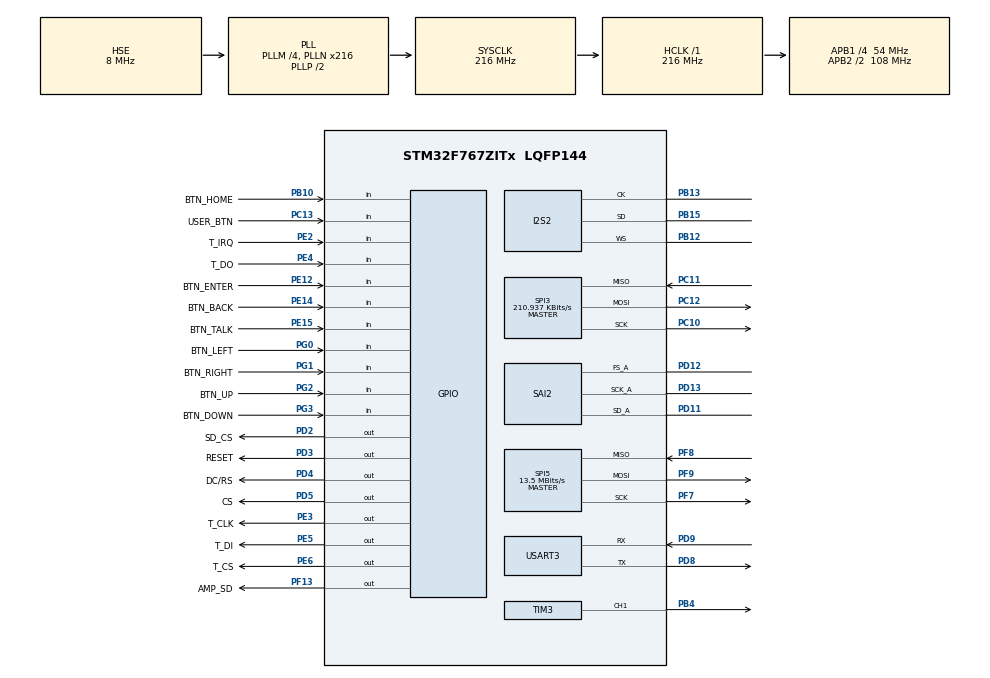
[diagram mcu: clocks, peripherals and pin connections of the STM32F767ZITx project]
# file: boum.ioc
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CORTEX_M7.CPU_DCache=Enabled
CORTEX_M7.CPU_ICache=Enabled
CORTEX_M7.default_mode_Activation=1
Dma.Request0=SPI2_RX
Dma.Request1=SAI2_A
Dma.Request2=SPI5_TX
Dma.SAI2_A.1.Direction=DMA_MEMORY_TO_PERIPH
Dma.SAI2_A.1.FIFOMode=DMA_FIFOMODE_DISABLE
Dma.SAI2_A.1.Instance=DMA2_Stream4
Dma.SAI2_A.1.MemDataAlignment=DMA_MDATAALIGN_HALFWORD
Dma.SAI2_A.1.MemInc=DMA_MINC_ENABLE
Dma.SAI2_A.1.Mode=DMA_CIRCULAR
Dma.SAI2_A.1.PeriphDataAlignment=DMA_PDATAALIGN_HALFWORD
Dma.SAI2_A.1.PeriphInc=DMA_PINC_DISABLE
Dma.SAI2_A.1.Priority=DMA_PRIORITY_LOW
Dma.SPI2_RX.0.Direction=DMA_PERIPH_TO_MEMORY
Dma.SPI2_RX.0.FIFOMode=DMA_FIFOMODE_DISABLE
Dma.SPI2_RX.0.Instance=DMA1_Stream3
Dma.SPI2_RX.0.MemDataAlignment=DMA_MDATAALIGN_HALFWORD
Dma.SPI2_RX.0.MemInc=DMA_MINC_ENABLE
Dma.SPI2_RX.0.Mode=DMA_CIRCULAR
Dma.SPI2_RX.0.PeriphDataAlignment=DMA_PDATAALIGN_HALFWORD
Dma.SPI2_RX.0.PeriphInc=DMA_PINC_DISABLE
Dma.SPI2_RX.0.Priority=DMA_PRIORITY_LOW
Dma.SPI5_TX.2.Direction=DMA_MEMORY_TO_PERIPH
Dma.SPI5_TX.2.FIFOMode=DMA_FIFOMODE_DISABLE
Dma.SPI5_TX.2.Instance=DMA2_Stream6
Dma.SPI5_TX.2.MemDataAlignment=DMA_MDATAALIGN_BYTE
Dma.SPI5_TX.2.MemInc=DMA_MINC_ENABLE
Dma.SPI5_TX.2.Mode=DMA_NORMAL
Dma.SPI5_TX.2.PeriphDataAlignment=DMA_PDATAALIGN_BYTE
Dma.SPI5_TX.2.PeriphInc=DMA_PINC_DISABLE
Dma.SPI5_TX.2.Priority=DMA_PRIORITY_LOW
EdgeImpulse.bmo-wakeword.1.0.1.MachineLearningCcbmoAawakewordJjCore=true
I2S2.AudioFreq=I2S_AUDIOFREQ_16K
I2S2.DataFormat=I2S_DATAFORMAT_24B
I2S2.ErrorAudioFreq=0.0 %
I2S2.FullDuplexMode=I2S_FULLDUPLEXMODE_DISABLE
I2S2.Instance=SPI$Index
I2S2.Mode=I2S_MODE_MASTER_RX
I2S2.RealAudioFreq=16.0 KHz
I2S2.VirtualMode=I2S_MODE_MASTER
Mcu.Family=STM32F7
Mcu.Name=STM32F767ZITx
Mcu.Package=LQFP144
NVIC.DMA1_Stream3_IRQn=true\:0\:0\:false\:false\:true\:false\:true\:true
NVIC.DMA2_Stream4_IRQn=true\:0\:0\:false\:false\:true\:false\:true\:true
NVIC.DMA2_Stream6_IRQn=true\:0\:0\:false\:false\:true\:false\:true\:true
NVIC.PriorityGroup=NVIC_PRIORITYGROUP_4
PA13.Mode=Trace_Asynchronous_SW
PA13.Signal=SYS_JTMS-SWDIO
PA14.Mode=Trace_Asynchronous_SW
PA14.Signal=SYS_JTCK-SWCLK
PB10.GPIO_Label=BTN_HOME
PB10.GPIO_PuPd=GPIO_PULLUP
PB10.Signal=GPIO_Input
PB12.Mode=Half_Duplex_Master
PB12.Signal=I2S2_WS
PB13.Mode=Half_Duplex_Master
PB13.Signal=I2S2_CK
PB15.Mode=Half_Duplex_Master
PB15.Signal=I2S2_SD
PB3.Mode=Trace_Asynchronous_SW
PB3.Signal=SYS_JTDO-SWO
PB4.Signal=S_TIM3_CH1
PC10.Mode=Full_Duplex_Master
PC10.Signal=SPI3_SCK
PC11.Mode=Full_Duplex_Master
PC11.Signal=SPI3_MISO
PC12.Mode=Full_Duplex_Master
PC12.Signal=SPI3_MOSI
PC13.GPIO_Label=USER_BTN
PC13.Signal=GPIO_Input
PD11.Mode=SAI_A_Master
PD11.Signal=SAI2_SD_A
PD12.Mode=SAI_A_Master
PD12.Signal=SAI2_FS_A
PD13.Mode=SAI_A_Master
PD13.Signal=SAI2_SCK_A
PD2.GPIO_Label=SD_CS
PD2.GPIO_Speed=GPIO_SPEED_FREQ_HIGH
PD2.PinState=GPIO_PIN_SET
PD2.Signal=GPIO_Output
PD3.GPIO_Label=RESET
PD3.PinState=GPIO_PIN_SET
PD3.Signal=GPIO_Output
PD4.GPIO_Label=DC/RS
PD4.Signal=GPIO_Output
PD5.GPIO_Label=CS
PD5.PinState=GPIO_PIN_SET
PD5.Signal=GPIO_Output
PD8.Mode=Asynchronous
PD8.Signal=USART3_TX
PD9.Mode=Asynchronous
PD9.Signal=USART3_RX
PE12.GPIO_Label=BTN_ENTER
PE12.GPIO_PuPd=GPIO_PULLUP
PE12.Signal=GPIO_Input
PE14.GPIO_Label=BTN_BACK
PE14.GPIO_PuPd=GPIO_PULLUP
PE14.Signal=GPIO_Input
PE15.GPIO_Label=BTN_TALK
PE15.GPIO_PuPd=GPIO_PULLUP
PE15.Signal=GPIO_Input
PE2.GPIO_Label=T_IRQ
PE2.Signal=GPIO_Input
PE3.GPIO_Label=T_CLK
PE3.Signal=GPIO_Output
PE4.GPIO_Label=T_DO
PE4.Signal=GPIO_Input
PE5.GPIO_Label=T_DI
PE5.Signal=GPIO_Output
PE6.GPIO_Label=T_CS
PE6.PinState=GPIO_PIN_SET
PE6.Signal=GPIO_Output
PF13.GPIO_Label=AMP_SD
PF13.Signal=GPIO_Output
PF7.Mode=Full_Duplex_Master
PF7.Signal=SPI5_SCK
PF8.Mode=Full_Duplex_Master
PF8.Signal=SPI5_MISO
PF9.Mode=Full_Duplex_Master
PF9.Signal=SPI5_MOSI
PG0.GPIO_Label=BTN_LEFT
PG0.GPIO_PuPd=GPIO_PULLUP
PG0.Signal=GPIO_Input
PG1.GPIO_Label=BTN_RIGHT
PG1.GPIO_PuPd=GPIO_PULLUP
PG1.Signal=GPIO_Input
PG2.GPIO_Label=BTN_UP
PG2.GPIO_PuPd=GPIO_PULLUP
PG2.Signal=GPIO_Input
PG3.GPIO_Label=BTN_DOWN
PG3.GPIO_PuPd=GPIO_PULLUP
PG3.Signal=GPIO_Input
PH0/OSC_IN.Mode=HSE-External-Clock-Source
PH0/OSC_IN.Signal=RCC_OSC_IN
PH1/OSC_OUT.Mode=HSE-External-Clock-Source
PH1/OSC_OUT.Signal=RCC_OSC_OUT
ProjectManager.HeapSize=0x8000
ProjectManager.StackSize=0x2000
ProjectManager.TargetToolchain=STM32CubeIDE
RCC.AHBFreq_Value=216000000
RCC.APB1CLKDivider=RCC_HCLK_DIV4
RCC.APB1Freq_Value=54000000
RCC.APB1TimFreq_Value=108000000
RCC.APB2CLKDivider=RCC_HCLK_DIV2
RCC.APB2Freq_Value=108000000
RCC.APB2TimFreq_Value=216000000
RCC.CortexFreq_Value=216000000
RCC.HCLKFreq_Value=216000000
RCC.HSE_VALUE=8000000
RCC.HSI_VALUE=16000000
RCC.LSE_VALUE=32768
RCC.PLLI2SR=3
RCC.PLLM=4
RCC.PLLN=216
RCC.PLLQ=9
RCC.PLLSAIN=158
RCC.PLLSAIQ=7
RCC.PLLSAIQDiv=4
RCC.PLLSourceVirtual=RCC_PLLSOURCE_HSE
RCC.SYSCLKFreq_VALUE=216000000
RCC.SYSCLKSource=RCC_SYSCLKSOURCE_PLLCLK
RCC.USBFreq_Value=48000000
RCC.VCOOutputFreq_Value=432000000
SAI2.AudioFrequency-SAI_A_Master=SAI_AUDIO_FREQUENCY_22K
SAI2.BasicDataSize-SAI_A_Master=SAI_PROTOCOL_DATASIZE_16BITEXTENDED
SAI2.ErrorAudioFreq-SAI_A_Master=-0.03 %
SAI2.InitProtocol-SAI_A_Master=Enable
SAI2.Instance-SAI_A_Master=SAI$Index_Block_A
SAI2.MClockEnable-SAI_A_Master=SAI_MASTERCLOCK_DISABLE
SAI2.RealAudioFreq-SAI_A_Master=22.042 KHz
SAI2.VirtualMode-SAI_A_Master=VM_MASTER
SAI2.VirtualProtocol-SAI_A_BASIC=VM_BASIC_PROTOCOL
SH.S_TIM3_CH1.0=TIM3_CH1,PWM Generation1 CH1
SPI3.BaudRatePrescaler=SPI_BAUDRATEPRESCALER_256
SPI3.CalculateBaudRate=210.937 KBits/s
SPI3.DataSize=SPI_DATASIZE_8BIT
SPI3.Direction=SPI_DIRECTION_2LINES
SPI3.Mode=SPI_MODE_MASTER
SPI3.NSSPMode=SPI_NSS_PULSE_DISABLE
SPI3.VirtualType=VM_MASTER
SPI5.BaudRatePrescaler=SPI_BAUDRATEPRESCALER_8
SPI5.CalculateBaudRate=13.5 MBits/s
SPI5.DataSize=SPI_DATASIZE_8BIT
SPI5.Direction=SPI_DIRECTION_2LINES
SPI5.Mode=SPI_MODE_MASTER
SPI5.NSSPMode=SPI_NSS_PULSE_DISABLE
SPI5.VirtualType=VM_MASTER
TIM3.Channel-PWM\ Generation1\ CH1=TIM_CHANNEL_1
TIM3.Period=999
TIM3.Prescaler=107
USART3.VirtualMode-Asynchronous=VM_ASYNC
VP_EdgeImpulse.bmo-wakeword_VS_bmoAawakewordJjMachineLearning_1.0.1_1.0.1.Mode=bmoAawakewordJjMachineLearning
VP_FATFS_VS_Generic.Mode=User_defined
VP_RNG_VS_RNG.Mode=RNG_Activate
VP_SAI2_VP_$IpInstance_SAIA_SAI_BASIC.Mode=SAI_A_BASIC
VP_TIM3_VS_ClockSourceINT.Mode=Internal
board=custom

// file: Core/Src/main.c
/* USER CODE BEGIN Header */
/**
  ******************************************************************************
  * @file           : main.c
  * @brief          : Main program body
  ******************************************************************************
  * @attention
  *
  * Copyright (c) 2026 STMicroelectronics.
  * All rights reserved.
  *
  * This software is licensed under terms that can be found in the LICENSE file
  * in the root directory of this software component.
  * If no LICENSE file comes with this software, it is provided AS-IS.
  *
  ******************************************************************************
  */
/* USER CODE END Header */
#include "main.h"
#include "dma.h"
#include "fatfs.h"
#include "i2s.h"
#include "rng.h"
#include "sai.h"
#include "spi.h"
#include "tim.h"
#include "usart.h"
#include "gpio.h"

/* USER CODE BEGIN Includes */
#include "p4_demo.h"
#include <stdio.h>
#include <string.h>
#include "lcd_test.h"
#include "face_gfx.h"
#include "bmo_face.h"
#include "p5_audio/wakeword.h"                    /* P5: wake word */
#include "p5_audio/audio_sfx.h"                   /* P5: speaker beeps, SD playback */
/* USER CODE END Includes */

/* USER CODE BEGIN PD */
/* 1 = show the calibration pattern instead of the face (fix colour/rotation first) */
#define SCREEN_TEST 0
/* 1 = face demo: the blue USER button B1 changes face (short press = next,
 * hold > 1 s = previous); the face survives the black RESET button; USART3
 * prints each change and, every 10 s, the current face's timing.
 * 0 = normal behaviour (idle face). */
#define FACE_DEMO   0
#define BTN_DEBOUNCE_MS  30
#define BTN_LONG_MS      1000
#define DEMO_REPORT_MS   10000
#define DEMO_MAGIC       0xB30FACE5u
#define TICK_LIMIT_US    25000      /* demo check: hard limit per face frame */
/* USER CODE END PD */

/* USER CODE BEGIN PV */
#if FACE_DEMO
/* Kept across the black RESET button: .sram1 is NOLOAD, so startup code never
 * clears it. After power-off it holds noise, which the magic value and the
 * inverted copy reject (and a power-on reset always starts at 01). */
typedef struct { uint32_t magic, face, inv, pad[5]; } demo_keep_t;   /* one 32-byte cache line */
static demo_keep_t demo_keep __attribute__((section(".sram1"), aligned(32)));
static int power_on;                     /* reset cause, read before anything clears it */

static struct {
  uint32_t t0_ms;                        /* start of this report window */
  uint32_t cyc0;                         /* CYCCNT at the start of the window */
  uint32_t rearmed;                      /* times the counter had been switched off */
  uint32_t worst_cyc, over;              /* worst face frame, frames over the budget */
  uint64_t busy_cyc;                     /* time in face_tick() calls that drew a frame */
  uint64_t poll_cyc;                     /* time in calls that returned at once */
} demo;
static uint32_t change_t0;               /* button press that started a change */
static int      change_open;             /* change time still to be printed */
#endif
/* USER CODE END PV */

void SystemClock_Config(void);
static void MPU_Config(void);
/* USER CODE BEGIN PFP */
static void say(const char *s);
int p4_talk_pressed(void);                      /* P4: green TALK button (push-to-talk), in p4_demo.c */
/* USER CODE END PFP */

/* USER CODE BEGIN 0 */

/* Print a message to the ST-LINK virtual COM port (USART3, 115200 baud) */
static void say(const char *s)
{
  HAL_UART_Transmit(&huart3, (uint8_t *)s, (uint16_t)strlen(s), 100);
}

/* P5: lets printf() print to the ST-LINK virtual COM port */
int __io_putchar(int ch)
{
  uint8_t c = (uint8_t)ch;
  HAL_UART_Transmit(&huart3, &c, 1, 100);
  return ch;
}

/* Cycle counter on. zero = 0 keeps the count (re-arming inside the loop). */
static void dwt_on(int zero)
{
  CoreDebug->DEMCR |= CoreDebug_DEMCR_TRCENA_Msk;   /* trace block on */
  DWT->LAR = 0xC5ACCE55;                            /* Cortex-M7: unlock DWT writes */
  if (zero) DWT->CYCCNT = 0;
  DWT->CTRL |= DWT_CTRL_CYCCNTENA_Msk;
}

/* The face's real clock: face_tick() stops drawing before 25 ms by it. */
static uint32_t dwt_cycles(void) { return DWT->CYCCNT; }

#if FACE_DEMO
static void demo_keep_save(face_id_t f)
{
  demo_keep.magic = DEMO_MAGIC;
  demo_keep.face  = (uint32_t)f;
  demo_keep.inv   = ~(uint32_t)f;
  SCB_CleanDCache_by_Addr((uint32_t *)&demo_keep, sizeof demo_keep);   /* D-cache is write-back */
}

static face_id_t demo_keep_load(void)
{
  if (!power_on && demo_keep.magic == DEMO_MAGIC && demo_keep.face < FACE_COUNT
      && demo_keep.inv == ~demo_keep.face)
    return (face_id_t)demo_keep.face;
  return FACE_IDLE;
}

static void demo_stats_reset(uint32_t now)
{
  uint32_t rearmed = demo.rearmed;
  memset(&demo, 0, sizeof demo);
  demo.t0_ms = now;
  demo.cyc0 = DWT->CYCCNT;
  demo.rearmed = rearmed;                          /* counted over the whole run */
}

static void demo_change(int dir, uint32_t now)
{
  face_id_t f = (face_id_t)((face_current() + FACE_COUNT + dir) % FACE_COUNT);
  face_show(f);                                     /* blink transition, runs in face_tick() */
  demo_keep_save(f);
  change_t0 = now;
  change_open = 1;
}

/* Blue button B1 (pressed = High), polled: 30 ms debounce, act on release. */
static void demo_button(uint32_t now)
{
  static uint8_t raw_last, stable;
  static uint32_t t_edge, t_down;
  uint8_t raw = HAL_GPIO_ReadPin(USER_BTN_GPIO_Port, USER_BTN_Pin) == GPIO_PIN_SET;

  if (raw != raw_last) { raw_last = raw; t_edge = now; }
  if (raw == stable || now - t_edge < BTN_DEBOUNCE_MS) return;
  stable = raw;
  if (stable) t_down = now;
  else        demo_change(now - t_down > BTN_LONG_MS ? -1 : +1, now);
}

static void print_ms(char *buf, size_t n, const char *label, uint32_t us)
{
  snprintf(buf, n, "%s%lu.%lu ms", label, (unsigned long)(us / 1000u), (unsigned long)(us % 1000u / 100u));
}

/* After every face_tick(): timing, button, change time, 10 s report.
 * frame = that call ran a face frame (face_frames() moved), else it was a poll. */
static void demo_poll(uint32_t tick_cyc, int frame)
{
  uint32_t now = HAL_GetTick(), cyc_us = SystemCoreClock / 1000000u;
  char line[128], a[32];

  /* Something (e.g. the debugger starting SWV trace) can switch the counter off. */
  if (!(CoreDebug->DEMCR & CoreDebug_DEMCR_TRCENA_Msk) || !(DWT->CTRL & DWT_CTRL_CYCCNTENA_Msk)) {
    dwt_on(0);
    demo.rearmed++;
  }

  if (frame) {
    demo.busy_cyc += tick_cyc;
    if (tick_cyc > demo.worst_cyc) demo.worst_cyc = tick_cyc;
    if (tick_cyc / cyc_us > TICK_LIMIT_US) demo.over++;
  } else {
    demo.poll_cyc += tick_cyc;
  }

  demo_button(now);

  if (change_open && !face_changing()) {
    change_open = 0;
    snprintf(line, sizeof line, "face %-15s change %lu ms\r\n", face_name(face_current()),
             (unsigned long)(now - change_t0));
    say(line);
    demo_stats_reset(HAL_GetTick());
    return;                                         /* window starts after the print, not at `now` */
  }

  if ((int32_t)(now - demo.t0_ms) >= DEMO_REPORT_MS && DWT->CYCCNT == demo.cyc0) {
    snprintf(line, sizeof line, "  DWT stuck: DEMCR=%08lx CTRL=%08lx, no timing this window\r\n",
             (unsigned long)CoreDebug->DEMCR, (unsigned long)DWT->CTRL);
    say(line);
    dwt_on(0);
    demo_stats_reset(HAL_GetTick());
    return;
  }
  if ((int32_t)(now - demo.t0_ms) >= DEMO_REPORT_MS) {
    uint32_t span_us = (now - demo.t0_ms) * 1000u;
    uint32_t load10 = (uint32_t)(demo.busy_cyc / cyc_us * 1000u / span_us);   /* 0.1 % */
    uint32_t poll10 = (uint32_t)(demo.poll_cyc / cyc_us * 1000u / span_us);
    print_ms(a, sizeof a, "worst tick ", demo.worst_cyc / cyc_us);
    snprintf(line, sizeof line, "  %-15s %s, over 25 ms: %lu, CPU %lu.%lu %% (+ empty polls %lu.%lu %%)%s\r\n",
             face_name(face_current()), a, (unsigned long)demo.over,
             (unsigned long)(load10 / 10u), (unsigned long)(load10 % 10u),
             (unsigned long)(poll10 / 10u), (unsigned long)(poll10 % 10u),
             demo.rearmed ? " (DWT was switched off and re-enabled)" : "");
    say(line);
    demo_stats_reset(HAL_GetTick());               /* printing took time: start after it */
  }
}
#endif

/* USER CODE END 0 */

int main(void)
{

  /* MPU Configuration--------------------------------------------------------*/
  MPU_Config();

  /* Enable the CPU Cache */

  /* Enable I-Cache---------------------------------------------------------*/
  SCB_EnableICache();

  /* Enable D-Cache---------------------------------------------------------*/
  SCB_EnableDCache();

  /* MCU Configuration--------------------------------------------------------*/

  /* Reset of all peripherals, Initializes the Flash interface and the Systick. */
  HAL_Init();

  /* USER CODE BEGIN Init */
#if FACE_DEMO
  power_on = __HAL_RCC_GET_FLAG(RCC_FLAG_PORRST) != RESET;   /* power-on, not the RESET button */
  __HAL_RCC_CLEAR_RESET_FLAGS();
#endif
  /* USER CODE END Init */

  /* Configure the system clock */
  SystemClock_Config();

  /* Initialize all configured peripherals */
  MX_GPIO_Init();
  MX_DMA_Init();
  MX_I2S2_Init();
  MX_RNG_Init();
  MX_SAI2_Init();
  MX_SPI5_Init();
  MX_USART3_UART_Init();
  MX_TIM3_Init();
  MX_SPI3_Init();
  MX_FATFS_Init();
  /* USER CODE BEGIN 2 */
  say("\r\n=== BMO boot OK ===\r\n");
  say("build " __DATE__ " " __TIME__ "\r\n");     /* which firmware is on the board */

  gfx_init();                                   /* LCD on, landscape */
  say("LCD init done\r\n");

#if SCREEN_TEST
  lcd_screen_test();
  say("Screen test pattern shown\r\n");
  while (1) { }
#endif

  uint32_t seed = 0;
  if (HAL_RNG_GenerateRandomNumber(&hrng, &seed) != HAL_OK) seed = HAL_GetTick();
  face_init(seed);
  dwt_on(1);                                        /* cycle counter: the face's real clock */
  face_set_clock(dwt_cycles, SystemCoreClock / 1000000u);
  say("Face ready\r\n");
  p4_demo_init();                                   /* P4: prints the key help */
  audio_sfx_play(SFX_BEEP);                         /* P5: startup beep */
  wakeword_start();                                 /* P5: start listening */
  say("Wake word listening\r\n");

#if FACE_DEMO
  char line[96];
  uint32_t c0 = DWT->CYCCNT;                        /* check it runs, and at what rate */
  HAL_Delay(10);
  uint32_t dc = DWT->CYCCNT - c0;
  if (dc)
    snprintf(line, sizeof line, "DWT ok: %lu cycles in ~10 ms (216 MHz = 2160000)\r\n", (unsigned long)dc);
  else
    snprintf(line, sizeof line, "DWT stuck: DEMCR=%08lx CTRL=%08lx LSR=%08lx\r\n",
             (unsigned long)CoreDebug->DEMCR, (unsigned long)DWT->CTRL, (unsigned long)DWT->LSR);
  say(line);

  face_id_t start = demo_keep_load();
  face_show(start);                                 /* before the first tick: switches at once */
  demo_keep_save(start);
  say("FACE_DEMO: blue button = next face, hold > 1 s = previous\r\n");
  snprintf(line, sizeof line, "face %-15s (%s)\r\n", face_name(start),
           power_on ? "power-on" : "kept across reset");
  say(line);
  demo_stats_reset(HAL_GetTick());
#endif
  /* USER CODE END 2 */

  /* Infinite loop */
  while (1)
  {

    /* USER CODE BEGIN 3 */
#if FACE_DEMO
    uint32_t f0 = face_frames(), c0 = DWT->CYCCNT;
#endif
    face_tick(HAL_GetTick());                   /* all face life; stops drawing before 25 ms */
    p4_demo_tick(HAL_GetTick());                /* P4: read serial keys, run games and home screen */
    /* ---- P5 audio: wake word, sound effects, SD voice lines and songs ---- */
    {
      static int song_on = 0;                   /* 1 while a song is playing */
      static int next_track = 1;                /* "music" plays TRACK1, TRACK2, ... */
      const int num_tracks = 6;               /* how many TRACKn.WAV are on the card */

      if (song_on && !audio_busy()) song_on = 0;            /* song ended by itself */

      /* don't listen during BMO's own short sounds, but keep listening during songs */
      wakeword_set_paused((audio_busy() && !song_on) || p4_game_running());

      if (p4_talk_pressed()) {                              /* push-to-talk: listen without "hey BMO" */
        say("TALK pressed - say games or music\r\n");
        if (song_on) { audio_stop(); song_on = 0; }
        wakeword_force_wake();                              /* opens the 4 s window for games / music */
        audio_sfx_play(SFX_WAKE);
      }

      int ww = (int)wakeword_poll();

      if (ww == WW_HEY_BMO && song_on) {                    /* "hey BMO" during a song = stop */
        say("HEY BMO! (stop song)\r\n");
        audio_stop();
        song_on = 0;
        audio_sfx_play(SFX_OK);
      } else if (ww == WW_HEY_BMO) {
        say("HEY BMO!\r\n");
        audio_sfx_play(SFX_WAKE);
        audio_say("HI.WAV");                                /* voice line from the SD card */
      } else if (ww == WW_GAMES) {
        say("GAMES!\r\n");
        audio_sfx_play(SFX_OK);
        audio_say("GAMES.WAV");
      } else if (ww == WW_MUSIC) {
        char name[16];
        say("MUSIC!\r\n");
        snprintf(name, sizeof name, "TRACK%d.WAV", next_track);
        audio_sfx_play(SFX_OK);
        if (audio_say(name) == 0) song_on = 1;
        next_track = next_track % num_tracks + 1;
      }
      audio_sfx_poll();                         /* keeps sounds and SD playback going */
    }
#if FACE_DEMO
    demo_poll(DWT->CYCCNT - c0, face_frames() != f0);
#endif
  }
  /* USER CODE END 3 */
}

void SystemClock_Config(void)
{
  RCC_OscInitTypeDef RCC_OscInitStruct = {0};
  RCC_ClkInitTypeDef RCC_ClkInitStruct = {0};

  /** Configure the main internal regulator output voltage
  */
  __HAL_RCC_PWR_CLK_ENABLE();
  __HAL_PWR_VOLTAGESCALING_CONFIG(PWR_REGULATOR_VOLTAGE_SCALE1);

  /** Initializes the RCC Oscillators according to the specified parameters
  * in the RCC_OscInitTypeDef structure.
  */
  RCC_OscInitStruct.OscillatorType = RCC_OSCILLATORTYPE_HSE;
  RCC_OscInitStruct.HSEState = RCC_HSE_BYPASS;
  RCC_OscInitStruct.PLL.PLLState = RCC_PLL_ON;
  RCC_OscInitStruct.PLL.PLLSource = RCC_PLLSOURCE_HSE;
  RCC_OscInitStruct.PLL.PLLM = 4;
  RCC_OscInitStruct.PLL.PLLN = 216;
  RCC_OscInitStruct.PLL.PLLP = RCC_PLLP_DIV2;
  RCC_OscInitStruct.PLL.PLLQ = 9;
  RCC_OscInitStruct.PLL.PLLR = 2;
  if (HAL_RCC_OscConfig(&RCC_OscInitStruct) != HAL_OK)
  {
    Error_Handler();
  }

  /** Activate the Over-Drive mode
  */
  if (HAL_PWREx_EnableOverDrive() != HAL_OK)
  {
    Error_Handler();
  }

  /** Initializes the CPU, AHB and APB buses clocks
  */
  RCC_ClkInitStruct.ClockType = RCC_CLOCKTYPE_HCLK|RCC_CLOCKTYPE_SYSCLK
                              |RCC_CLOCKTYPE_PCLK1|RCC_CLOCKTYPE_PCLK2;
  RCC_ClkInitStruct.SYSCLKSource = RCC_SYSCLKSOURCE_PLLCLK;
  RCC_ClkInitStruct.AHBCLKDivider = RCC_SYSCLK_DIV1;
  RCC_ClkInitStruct.APB1CLKDivider = RCC_HCLK_DIV4;
  RCC_ClkInitStruct.APB2CLKDivider = RCC_HCLK_DIV2;

  if (HAL_RCC_ClockConfig(&RCC_ClkInitStruct, FLASH_LATENCY_7) != HAL_OK)
  {
    Error_Handler();
  }
}

 /* MPU Configuration */

void MPU_Config(void)
{
  MPU_Region_InitTypeDef MPU_InitStruct = {0};

  /* Disables the MPU */
  HAL_MPU_Disable();

  /** Initializes and configures the Region and the memory to be protected
  */
  MPU_InitStruct.Enable = MPU_REGION_ENABLE;
  MPU_InitStruct.Number = MPU_REGION_NUMBER0;
  MPU_InitStruct.BaseAddress = 0x0;
  MPU_InitStruct.Size = MPU_REGION_SIZE_4GB;
  MPU_InitStruct.SubRegionDisable = 0x87;
  MPU_InitStruct.TypeExtField = MPU_TEX_LEVEL0;
  MPU_InitStruct.AccessPermission = MPU_REGION_NO_ACCESS;
  MPU_InitStruct.DisableExec = MPU_INSTRUCTION_ACCESS_DISABLE;
  MPU_InitStruct.IsShareable = MPU_ACCESS_SHAREABLE;
  MPU_InitStruct.IsCacheable = MPU_ACCESS_NOT_CACHEABLE;
  MPU_InitStruct.IsBufferable = MPU_ACCESS_NOT_BUFFERABLE;

  HAL_MPU_ConfigRegion(&MPU_InitStruct);
  /* Enables the MPU */
  HAL_MPU_Enable(MPU_PRIVILEGED_DEFAULT);

}

void Error_Handler(void)
{
  __disable_irq();
  while (1)
  {
  }
}
